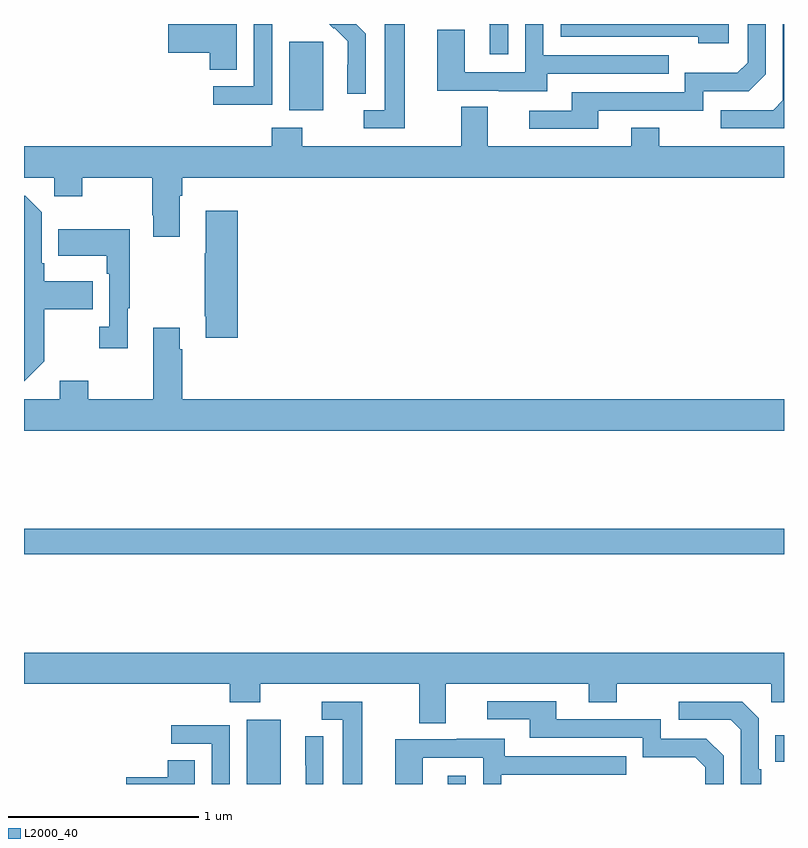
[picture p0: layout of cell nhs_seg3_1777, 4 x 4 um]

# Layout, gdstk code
import gdstk
lib = gdstk.Library(unit=1e-6, precision=1e-09)
def R(c, l, rs):  # rectangles x0, y0, x1, y1
    for r in rs: c.add(gdstk.rectangle(r[:2], r[2:], *l))
def P(c, l, *ps):  # polygons
    for p in ps: c.add(gdstk.Polygon(p, *l))
L2000_40 = (2000, 40)

nhs_seg3_1777 = lib.new_cell('nhs_seg3_1777')
R(nhs_seg3_1777, L2000_40, [(204.173,688.4,204.352,688.738), (205.229,688.4,205.326,688.444), (206.953,688.517,207,688.657), (203,689.608,207,689.744), (204.395,691.946,204.574,692.307)])
P(nhs_seg3_1777, L2000_40, [(206.71,692.4),(205.824,692.4),(205.824,692.334),(206.549,692.334),(206.549,692.3),(206.71,692.3)],
  [(207,692.4),(206.994,692.4),(206.994,691.998),(206.943,691.947),(206.667,691.947),(206.667,691.851),(207,691.851)],
  [(205.753,692.139),(206.393,692.139),(206.393,692.235),(205.734,692.235),(205.734,692.4),(205.638,692.4),(205.638,692.145),(205.32,692.145),(205.32,692.369),(205.175,692.369),(205.175,692.049),(205.499,692.049),(205.499,692.045),(205.753,692.045)],
  [(205.548,692.4),(205.448,692.4),(205.451,692.397),(205.451,692.241),(205.548,692.241)],
  [(205.003,692.4),(204.899,692.4),(204.899,691.947),(204.789,691.947),(204.789,691.851),(205.003,691.851)],
  [(206.023,691.944),(206.574,691.944),(206.574,692.046),(206.814,692.046),(206.904,692.136),(206.904,692.4),(206.808,692.4),(206.808,692.196),(206.755,692.143),(206.478,692.143),(206.478,692.04),(205.883,692.04),(205.883,691.944),(205.659,691.944),(205.659,691.848),(206.023,691.848)],
  [(204.121,692.4),(203.76,692.4),(203.76,692.249),(203.978,692.249),(203.978,692.158),(204.121,692.158)],
  [(204.306,692.4),(204.21,692.4),(204.21,692.073),(203.997,692.073),(203.997,691.975),(204.306,691.975)],
  [(204.798,692.35),(204.748,692.4),(204.606,692.4),(204.63,692.376),(204.633,692.379),(204.704,692.309),(204.704,692.186),(204.702,692.186),(204.702,692.032),(204.798,692.032)],
  [(203.821,691.496),(203.834,691.496),(203.834,691.592),(207,691.592),(207,691.756),(206.343,691.756),(206.343,691.855),(206.195,691.855),(206.195,691.756),(205.441,691.756),(205.441,691.964),(205.301,691.964),(205.301,691.756),(204.465,691.756),(204.465,691.855),(204.305,691.855),(204.305,691.756),(203,691.756),(203,691.592),(203.16,691.592),(203.16,691.493),(203.307,691.493),(203.307,691.592),(203.674,691.592),(203.674,691.393),(203.681,691.393),(203.681,691.281),(203.821,691.281)],
  [(203.107,690.625),(203.107,690.898),(203.363,690.898),(203.363,691.045),(203.107,691.045),(203.107,691.141),(203.094,691.141),(203.094,691.41),(203.007,691.497),(203,691.497),(203,690.519),(203.001,690.519)],
  [(204.125,691.417),(203.957,691.417),(203.957,691.193),(203.95,691.193),(203.95,690.862),(203.957,690.862),(203.957,690.75),(204.125,690.75)],
  [(203.545,690.905),(203.557,690.905),(203.557,691.321),(203.179,691.321),(203.179,691.181),(203.436,691.181),(203.436,691.085),(203.448,691.085),(203.448,690.806),(203.397,690.806),(203.397,690.693),(203.545,690.693)],
  [(207,690.424),(203.834,690.424),(203.834,690.689),(203.821,690.689),(203.821,690.802),(203.681,690.802),(203.681,690.424),(203.337,690.424),(203.337,690.523),(203.189,690.523),(203.189,690.424),(203,690.424),(203,690.26),(207,690.26)],
  [(205.219,688.928),(205.973,688.928),(205.973,688.829),(206.121,688.829),(206.121,688.928),(206.934,688.928),(206.934,688.829),(207,688.829),(207,689.092),(203,689.092),(203,688.928),(204.083,688.928),(204.083,688.829),(204.243,688.829),(204.243,688.928),(205.079,688.928),(205.079,688.72),(205.219,688.72)],
  [(206.682,688.548),(206.592,688.638),(206.352,688.638),(206.352,688.74),(205.801,688.74),(205.801,688.836),(205.437,688.836),(205.437,688.74),(205.661,688.74),(205.661,688.644),(206.256,688.644),(206.256,688.541),(206.533,688.541),(206.586,688.488),(206.586,688.4),(206.682,688.4)],
  [(206.881,688.477),(206.868,688.477),(206.868,688.746),(206.781,688.833),(206.445,688.833),(206.445,688.737),(206.721,688.737),(206.772,688.686),(206.772,688.4),(206.881,688.4)],
  [(204.781,688.833),(204.567,688.833),(204.567,688.737),(204.677,688.737),(204.677,688.4),(204.781,688.4)],
  [(204.084,688.71),(203.775,688.71),(203.775,688.611),(203.988,688.611),(203.988,688.4),(204.084,688.4)],
  [(204.576,688.652),(204.48,688.652),(204.48,688.498),(204.482,688.498),(204.482,688.4),(204.576,688.4)],
  [(205.098,688.539),(205.416,688.539),(205.416,688.4),(205.512,688.4),(205.512,688.449),(206.171,688.449),(206.171,688.545),(205.531,688.545),(205.531,688.639),(205.277,688.639),(205.277,688.635),(204.953,688.635),(204.953,688.4),(205.098,688.4)],
  [(203.899,688.526),(203.756,688.526),(203.756,688.436),(203.538,688.436),(203.538,688.4),(203.899,688.4)])

lib.write_gds('nhs_seg3_1777.gds')
